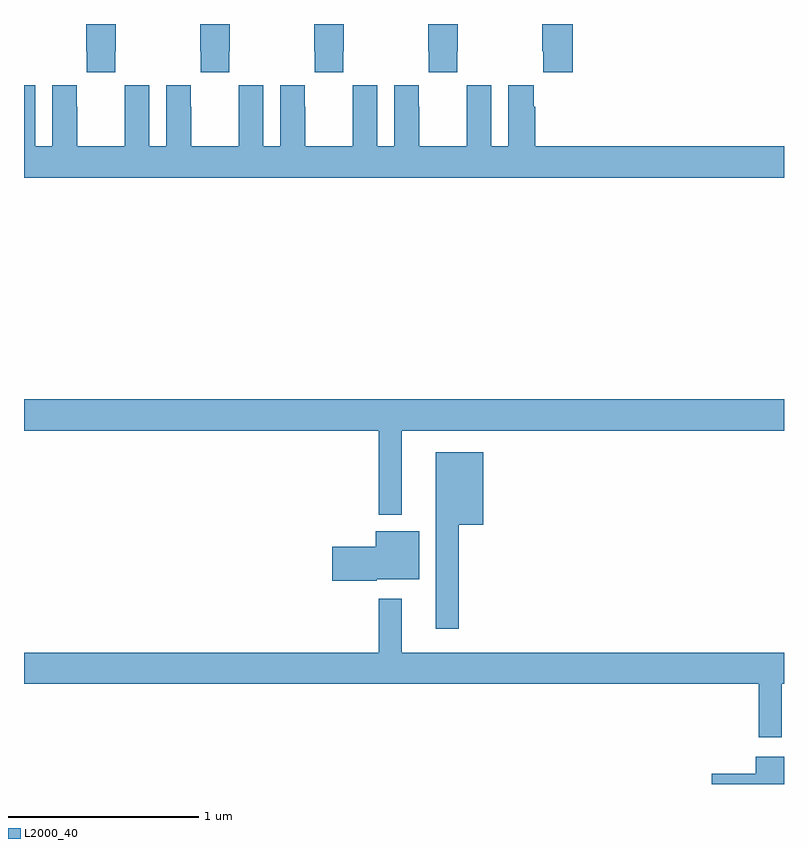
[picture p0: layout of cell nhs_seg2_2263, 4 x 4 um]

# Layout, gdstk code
import gdstk
lib = gdstk.Library(unit=1e-6, precision=1e-09)
def P(c, l, *ps):  # polygons
    for p in ps: c.add(gdstk.Polygon(p, *l))
L2000_40 = (2000, 40)

nhs_seg2_2263 = lib.new_cell('nhs_seg2_2263')
P(nhs_seg2_2263, L2000_40, [(230.079,625.657),(230.082,625.657),(230.082,625.8),(229.927,625.8),(229.927,625.657),(229.929,625.657),(229.929,625.545),(230.079,625.545)],
  [(230.679,625.657),(230.682,625.657),(230.682,625.8),(230.527,625.8),(230.527,625.657),(230.529,625.657),(230.529,625.545),(230.679,625.545)],
  [(231.279,625.657),(231.282,625.657),(231.282,625.8),(231.127,625.8),(231.127,625.657),(231.129,625.657),(231.129,625.545),(231.279,625.545)],
  [(231.887,625.8),(231.727,625.8),(231.727,625.657),(231.733,625.657),(231.733,625.545),(231.887,625.545)],
  [(229.479,625.657),(229.482,625.657),(229.482,625.8),(229.327,625.8),(229.327,625.657),(229.329,625.657),(229.329,625.545),(229.479,625.545)],
  [(233,625.156),(231.692,625.156),(231.692,625.364),(231.682,625.364),(231.682,625.477),(231.548,625.477),(231.548,625.156),(231.46,625.156),(231.46,625.477),(231.33,625.477),(231.33,625.364),(231.329,625.364),(231.329,625.156),(231.079,625.156),(231.079,625.364),(231.078,625.364),(231.078,625.477),(230.948,625.477),(230.948,625.156),(230.86,625.156),(230.86,625.477),(230.73,625.477),(230.73,625.364),(230.729,625.364),(230.729,625.156),(230.479,625.156),(230.479,625.364),(230.478,625.364),(230.478,625.477),(230.348,625.477),(230.348,625.156),(230.26,625.156),(230.26,625.477),(230.13,625.477),(230.13,625.364),(230.129,625.364),(230.129,625.156),(229.879,625.156),(229.879,625.364),(229.878,625.364),(229.878,625.477),(229.748,625.477),(229.748,625.156),(229.66,625.156),(229.66,625.477),(229.53,625.477),(229.53,625.364),(229.529,625.364),(229.529,625.156),(229.279,625.156),(229.279,625.364),(229.278,625.364),(229.278,625.477),(229.148,625.477),(229.148,625.156),(229.06,625.156),(229.06,625.477),(229,625.477),(229,624.992),(233,624.992)],
  [(230.989,623.66),(233,623.66),(233,623.824),(229,623.824),(229,623.66),(230.868,623.66),(230.868,623.216),(230.989,623.216)],
  [(231.289,623.165),(231.418,623.165),(231.418,623.545),(231.167,623.545),(231.167,622.617),(231.289,622.617)],
  [(230.856,622.877),(231.079,622.877),(231.079,623.131),(230.852,623.131),(230.852,623.048),(230.622,623.048),(230.622,622.87),(230.856,622.87)],
  [(232.987,622.328),(233,622.328),(233,622.492),(230.989,622.492),(230.989,622.774),(230.868,622.774),(230.868,622.492),(229,622.492),(229,622.328),(232.866,622.328),(232.866,622.047),(232.987,622.047)],
  [(233,621.943),(232.85,621.943),(232.85,621.855),(232.62,621.855),(232.62,621.8),(233,621.8)])

lib.write_gds('nhs_seg2_2263.gds')
